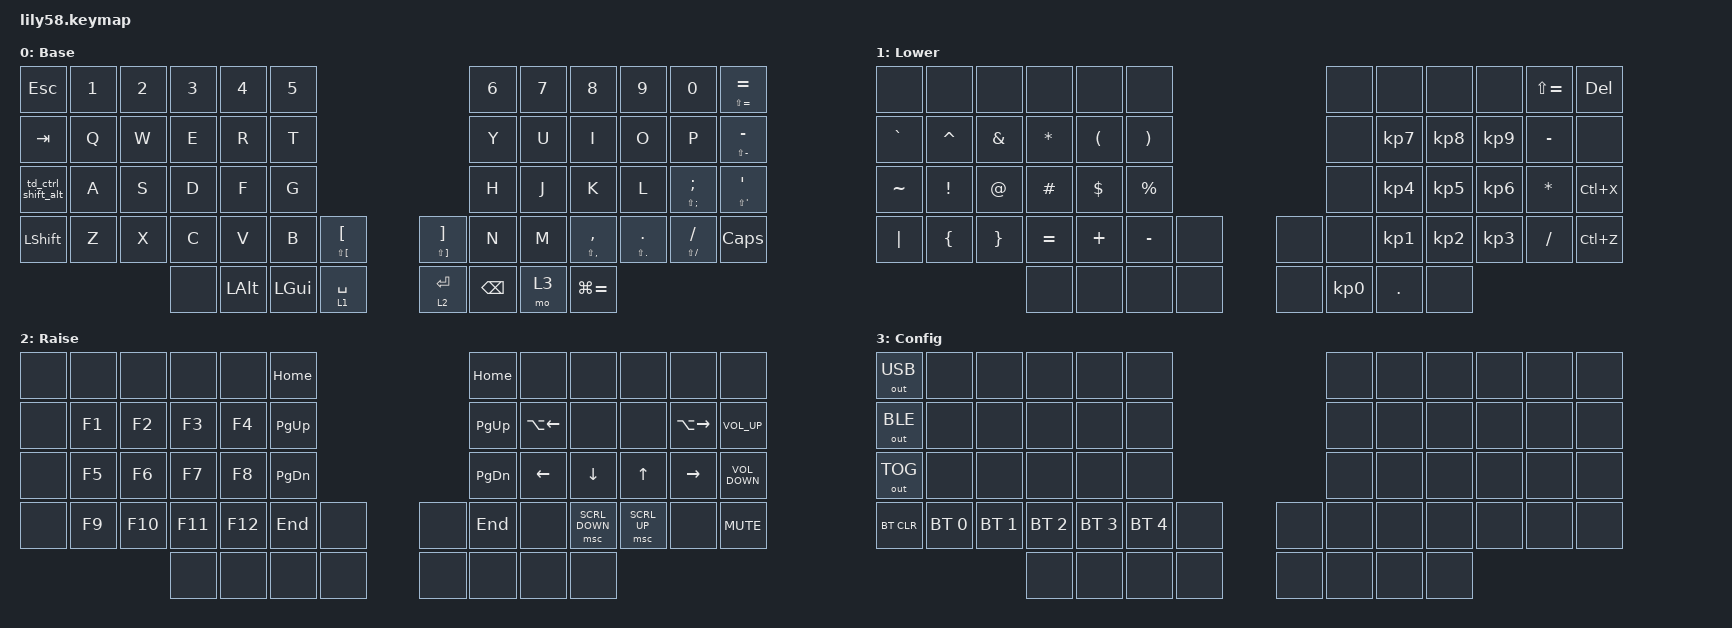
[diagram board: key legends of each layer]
/*
 * Copyright (c) 2020 The ZMK Contributors
 *
 * SPDX-License-Identifier: MIT
 */

#include <behaviors.dtsi>
#include <dt-bindings/zmk/bt.h>
#include <dt-bindings/zmk/keys.h>
#include <dt-bindings/zmk/outputs.h>
#include <dt-bindings/zmk/pointing.h>

/ {
    combos { compatible = "zmk,combos"; };

    behaviors {
        td_ctrl_shift_alt: td_ctrl_shift_alt {
            compatible = "zmk,behavior-tap-dance";
            label = "TD_CTRL_SHIFT_ALT";
            #binding-cells = <0>;
            bindings = <&kp LCTRL>, <&kp LS(LCTRL)>, <&kp LS(LA(LCTRL))>;
        };
    };

    keymap {
        compatible = "zmk,keymap";

        default_layer {
            // ------------------------------------------------------------------------------------------------------------
            // |  ESC  |  1  |  2  |  3   |  4   |  5   |                   |  6   |  7    |  8    |  9   |   0   |   `   |
            // |  TAB  |  Q  |  W  |  E   |  R   |  T   |                   |  Y   |  U    |  I    |  O   |   P   |   -   |
            // |  CTRL |  A  |  S  |  D   |  F   |  G   |                   |  H   |  J    |  K    |  L   |   ;   |   '   |
            // | SHIFT |  Z  |  X  |  C   |  V   |  B   |   "["  |  |  "]"  |  N   |  M    |  ,    |  .   |   /   | SHIFT |
            //                     | ALT  | GUI  | LOWER|  SPACE |  | ENTER | RAISE| BSPC  | GUI   |

            display-name = "Base";
            bindings = <
&kp ESC             &kp N1  &kp N2  &kp N3  &kp N4        &kp N5                                                             &kp N6         &kp N7  &kp N8               &kp N9           &kp N0               &mt LS(EQUAL) EQUAL
&kp TAB             &kp Q   &kp W   &kp E   &kp R         &kp T                                                              &kp Y          &kp U   &kp I                &kp O            &kp P                &mt LS(MINUS) MINUS
&td_ctrl_shift_alt  &kp A   &kp S   &kp D   &kp F         &kp G                                                              &kp H          &kp J   &kp K                &kp L            &mt LS(SEMI) SEMI    &mt LS(SQT) SQT
&kp LSHFT           &kp Z   &kp X   &kp C   &kp V         &kp B     &mt LS(LBKT) LEFT_BRACKET    &mt LS(RBKT) RIGHT_BRACKET  &kp N          &kp M   &mt LS(COMMA) COMMA  &mt LS(DOT) DOT  &mt LS(SLASH) SLASH  &kp CAPS
                                    &none   &kp LEFT_ALT  &kp LGUI  &lt 1 SPACE                  &lt 2 ENTER                 &kp BACKSPACE  &mo 3   &kp LG(EQUAL)
            >;
        };

        lower_layer {
            // ------------------------------------------------------------------------------------------------------------
            // | BTCLR | BT1 | BT2 |  BT3 |  BT4 |  BT5 |                   |      |       |       |      |       |       |
            // |  F1   |  F2 |  F3 |  F4  |  F5  |  F6  |                   |  F7  |  F8   |  F9   |  F10 |  F11  |  F12  |
            // |   `   |  !  |  @  |  #   |  $   |  %   |                   |  ^   |  &    |  *    |  (   |   )   |   ~   |
            // |       |     |     |      |      |      |        |  |       |      |  _    |  +    |  {   |   }   |  "|"  |
            //                     |      |      |      |        |  |       |      |       |       |

            display-name = "Lower";
            bindings = <
&none      &none      &none     &none      &none       &none                      &none      &none       &none      &none      &kp LS(EQUAL)  &kp DELETE
&kp GRAVE  &kp CARET  &kp AMPS  &kp STAR   &kp LPAR    &kp RPAR                   &none      &kp KP_N7   &kp KP_N8  &kp KP_N9  &kp MINUS      &none
&kp TILDE  &kp EXCL   &kp AT    &kp HASH   &kp DOLLAR  &kp PRCNT                  &none      &kp KP_N4   &kp KP_N5  &kp KP_N6  &kp ASTERISK   &kp LC(X)
&kp PIPE   &kp LBRC   &kp RBRC  &kp EQUAL  &kp PLUS    &kp MINUS  &none    &none  &none      &kp KP_N1   &kp KP_N2  &kp KP_N3  &kp SLASH      &kp LC(Z)
                                &none      &none       &none      &none    &none  &kp KP_N0  &kp PERIOD  &none
            >;
        };

        raise_layer {
            // ------------------------------------------------------------------------------------------------------------
            // |       |     |     |      |      |      |                   |      |       |       |      |       |       |
            // |   `   |  1  |  2  |  3   |  4   |  5   |                   |  6   |   7   |   8   |  9   |   0   |       |
            // |   F1  |  F2 |  F3 |  F4  |  F5  |  F6  |                   |      |   <-  |   v   |  ^   |  ->   |       |
            // |   F7  |  F8 |  F9 |  F10 |  F11 |  F12 |        |  |       |  +   |   -   |   =   |  [   |   ]   |   \   |
            //                     |      |      |      |        |  |       |      |       |       |

            display-name = "Raise";
            bindings = <
&none  &none   &none    &none    &none    &kp HOME                       &kp HOME       &none         &none           &none         &none          &none
&none  &kp F1  &kp F2   &kp F3   &kp F4   &kp PAGE_UP                    &kp PAGE_UP    &kp LA(LEFT)  &none           &none         &kp LA(RIGHT)  &kp C_VOLUME_UP
&none  &kp F5  &kp F6   &kp F7   &kp F8   &kp PAGE_DOWN                  &kp PAGE_DOWN  &kp LEFT      &kp DOWN        &kp UP        &kp RIGHT      &kp C_VOLUME_DOWN
&none  &kp F9  &kp F10  &kp F11  &kp F12  &kp END        &none    &none  &kp END        &none         &msc SCRL_DOWN  &msc SCRL_UP  &none          &kp C_MUTE
                        &none    &none    &none          &none    &none  &none          &none         &none
            >;
        };

        config_layer {
            bindings = <
&out OUT_USB  &none         &none         &none         &none         &none                         &none  &none  &none  &none  &none  &none
&out OUT_BLE  &none         &none         &none         &none         &none                         &none  &none  &none  &none  &none  &none
&out OUT_TOG  &none         &none         &none         &none         &none                         &none  &none  &none  &none  &none  &none
&bt BT_CLR    &bt BT_SEL 0  &bt BT_SEL 1  &bt BT_SEL 2  &bt BT_SEL 3  &bt BT_SEL 4  &none    &none  &none  &none  &none  &none  &none  &none
                                          &none         &none         &none         &none    &none  &none  &none  &none
            >;

            label = "Config";
        };
    };
};
